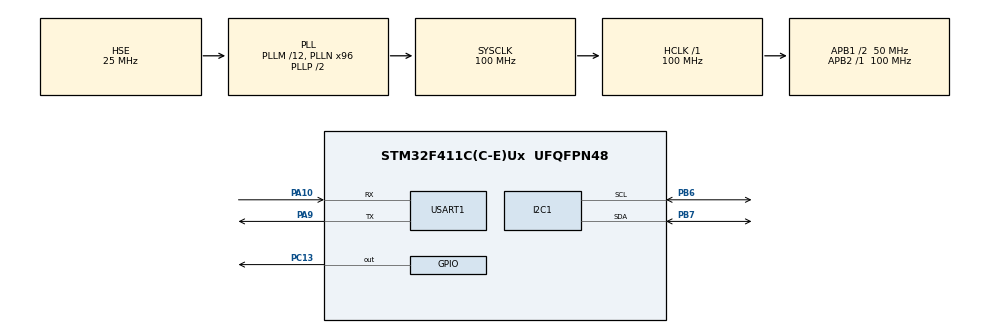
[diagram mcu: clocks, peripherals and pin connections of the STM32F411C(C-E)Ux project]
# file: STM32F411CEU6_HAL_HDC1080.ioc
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Mcu.Family=STM32F4
Mcu.Name=STM32F411C(C-E)Ux
Mcu.Package=UFQFPN48
NVIC.PriorityGroup=NVIC_PRIORITYGROUP_4
NVIC.USART1_IRQn=true\:0\:0\:false\:false\:true\:true\:true
PA10.Mode=Asynchronous
PA10.Signal=USART1_RX
PA13.Mode=Serial_Wire
PA13.Signal=SYS_JTMS-SWDIO
PA14.Mode=Serial_Wire
PA14.Signal=SYS_JTCK-SWCLK
PA9.Mode=Asynchronous
PA9.Signal=USART1_TX
PB6.Mode=I2C
PB6.Signal=I2C1_SCL
PB7.Mode=I2C
PB7.Signal=I2C1_SDA
PC13-ANTI_TAMP.Signal=GPIO_Output
PH0\ -\ OSC_IN.Mode=HSE-External-Oscillator
PH0\ -\ OSC_IN.Signal=RCC_OSC_IN
PH1\ -\ OSC_OUT.Mode=HSE-External-Oscillator
PH1\ -\ OSC_OUT.Signal=RCC_OSC_OUT
ProjectManager.HeapSize=0x200
ProjectManager.StackSize=0x400
ProjectManager.TargetToolchain=STM32CubeIDE
RCC.48MHZClocksFreq_Value=50000000
RCC.AHBFreq_Value=100000000
RCC.APB1CLKDivider=RCC_HCLK_DIV2
RCC.APB1Freq_Value=50000000
RCC.APB1TimFreq_Value=100000000
RCC.APB2Freq_Value=100000000
RCC.APB2TimFreq_Value=100000000
RCC.CortexFreq_Value=100000000
RCC.EnbaleCSS=true
RCC.HCLKFreq_Value=100000000
RCC.HSE_VALUE=25000000
RCC.HSI_VALUE=16000000
RCC.LSE_VALUE=32768
RCC.PLLM=12
RCC.PLLN=96
RCC.PLLSourceVirtual=RCC_PLLSOURCE_HSE
RCC.SYSCLKFreq_VALUE=100000000
RCC.SYSCLKSource=RCC_SYSCLKSOURCE_PLLCLK
RCC.VCOOutputFreq_Value=200000000
USART1.VirtualMode=VM_ASYNC
board=custom

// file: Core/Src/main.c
/* USER CODE BEGIN Header */
/**
 ******************************************************************************
 * @file           : main.c
 * @brief          : Main program body
 ******************************************************************************
 * @attention
 *
 * <h2><center>&copy; Copyright (c) 2026 STMicroelectronics.
 * All rights reserved.</center></h2>
 *
 * This software component is licensed by ST under BSD 3-Clause license,
 * the "License"; You may not use this file except in compliance with the
 * License. You may obtain a copy of the License at:
 *                        opensource.org/licenses/BSD-3-Clause
 *
 ******************************************************************************
 */
/* USER CODE END Header */
#include "main.h"

/* USER CODE BEGIN Includes */

/*ОПИСАНИЕ ПРИМЕРА
 * Мы используем I2C датчик температуры и влажности HDC1080
 * Сделаем вид, что PC13 - это реле, указывающее на аварийную ситуацию
 * Реле будет включаться при превышении климатических условий: Температура 30°C, Влажность 65%
 * И пусть у нас будет счетчик включений реле.
 * Наша задача - вывести это все на график и произвести анализ данных.
 */
#include "HDC1080.h"
#include "ModbusRTU_slave.h"
#include <stdbool.h>

/*=====================Переменные для ModbusRTU Slave===========================*/
uint8_t ModbusRTU_tx_buffer[256] = { 0, }; //Буфер исходящих данных по ModbusRTU
uint8_t ModbusRTU_rx_buffer[256] = { 0, }; //Буфер входящих данных по ModbusRTU
uint16_t ModbusRTU_rx_len = 0; //Счетчик пришедших байт, когда сработает флаг IDLE
extern bool ModbusRTU_Data_recieved; //Флаг принятых данных и готовых к обработке
extern uint16_t ModbusRTU_Slave_MEM[MODBUSRTU_SLAVE_ENUM_QUANTITY]; //Память устройства ModbusRTU_slave
//Прерывание по IDLE смотри в stm32f4xx_it.c
//Функция void HAL_UARTEx_RxEventCallback(UART_HandleTypeDef *huart, uint16_t Size)
/*=====================Переменные для ModbusRTU Slave===========================*/

/*=========================Переменные для HDC1080=========================*/
extern HDC1080_struct HDC1080; //Объявляем структуру цифрового датчика температуры и влажности HDC1080
uint16_t Timer_update_data_HDC1080 = 0; //Таймер для запуска опроса датчика HDC1080.
//Данный таймер будем запускать каждые 50 мс. Работать будет через SysTick
//(см. функцию void SysTick_Handler(void) в stm32f4xx_it.c)
/*=========================Переменные для HDC1080=========================*/

/*=================Переменные для логики нашего примера=================*/
bool Alarm_relay = false; //Реле будет включаться при превышении климатических условий: Температура 30°C, Влажность 65%
uint16_t Alarm_counter = 0; //Cчетчик включений реле
bool Alarm_flag_for_counter = false; //Триггер на увеличенние счетчика
/*=================Переменные для логики нашего примера=================*/

/* USER CODE END Includes */

I2C_HandleTypeDef hi2c1;

UART_HandleTypeDef huart1;

void SystemClock_Config(void);
static void MX_GPIO_Init(void);
static void MX_I2C1_Init(void);
static void MX_USART1_UART_Init(void);

int main(void) {

	/* MCU Configuration--------------------------------------------------------*/

	/* Reset of all peripherals, Initializes the Flash interface and the Systick. */
	HAL_Init();

	/* Configure the system clock */
	SystemClock_Config();

	/* Initialize all configured peripherals */
	MX_GPIO_Init();
	MX_I2C1_Init();
	MX_USART1_UART_Init();
	/* USER CODE BEGIN 2 */
	HDC1080_init(); //Проинициализируем HDC1080
	HAL_UARTEx_ReceiveToIdle_IT(&huart1, ModbusRTU_rx_buffer, sizeof(ModbusRTU_rx_buffer)); //Ждем прерывание по флагу IDLE для UART1
	/* USER CODE END 2 */

	/* Infinite loop */
	while (1) {

		/* USER CODE BEGIN 3 */

		/*=================Опрос датчика HDC1080==========================*/
		//Если таймер досчитал - опросим датчик HDC1080
		if (!Timer_update_data_HDC1080) {
			HDC1080_Run();
			Timer_update_data_HDC1080 = 50; //Снова запустим таймер на 50 мс
		}
		ModbusRTU_fast_Embedded_send_data((float)HDC1080.Temperature, MODBUSRTU_SLAVE_CHANNEL_1_H_REG);
		ModbusRTU_fast_Embedded_send_data((float)HDC1080.Humidity, MODBUSRTU_SLAVE_CHANNEL_2_H_REG);
		/*=================Опрос датчика HDC1080==========================*/

		/*======================Логика примера===========================*/
		if ((HDC1080.Temperature > 30.0f) && (HDC1080.Humidity > 65.0f)){
			Alarm_relay = true;
			HAL_GPIO_WritePin(GPIOC, GPIO_PIN_13, RESET); //Обратная логика на плате
			if (Alarm_flag_for_counter == false){
				Alarm_counter++; //Увеличим счетчик
				Alarm_flag_for_counter = true; //Сработал триггер на увеличение счетчика до сброса аварии
			}
		}else{
			Alarm_relay = false;
			Alarm_flag_for_counter = false; //Сбросим триггер на увеличение счетчика
			HAL_GPIO_WritePin(GPIOC, GPIO_PIN_13, SET); //Обратная логика на плате
		}
		ModbusRTU_fast_Embedded_send_data((float)Alarm_relay, MODBUSRTU_SLAVE_CHANNEL_3_H_REG);
		ModbusRTU_fast_Embedded_send_data((float)Alarm_counter, MODBUSRTU_SLAVE_CHANNEL_4_H_REG);
		/*======================Логика примера===========================*/

		/*====================Обработка запросов по ModbusRTU====================*/
		//Если данные пришли
		if (ModbusRTU_Data_recieved) {
			ModbusRTU_slave_Run(ModbusRTU_rx_buffer, ModbusRTU_rx_len, ModbusRTU_tx_buffer); //Обработаем запрос и отдадим ответ
			ModbusRTU_Data_recieved = false; //Ждем следующий запрос
		}
		/*====================Обработка запросов по ModbusRTU====================*/

	}
	/* USER CODE END 3 */
}

void SystemClock_Config(void) {
	RCC_OscInitTypeDef RCC_OscInitStruct = { 0 };
	RCC_ClkInitTypeDef RCC_ClkInitStruct = { 0 };

	/** Configure the main internal regulator output voltage
	 */
	__HAL_RCC_PWR_CLK_ENABLE();
	__HAL_PWR_VOLTAGESCALING_CONFIG(PWR_REGULATOR_VOLTAGE_SCALE1);
	/** Initializes the RCC Oscillators according to the specified parameters
	 * in the RCC_OscInitTypeDef structure.
	 */
	RCC_OscInitStruct.OscillatorType = RCC_OSCILLATORTYPE_HSE;
	RCC_OscInitStruct.HSEState = RCC_HSE_ON;
	RCC_OscInitStruct.PLL.PLLState = RCC_PLL_ON;
	RCC_OscInitStruct.PLL.PLLSource = RCC_PLLSOURCE_HSE;
	RCC_OscInitStruct.PLL.PLLM = 12;
	RCC_OscInitStruct.PLL.PLLN = 96;
	RCC_OscInitStruct.PLL.PLLP = RCC_PLLP_DIV2;
	RCC_OscInitStruct.PLL.PLLQ = 4;
	if (HAL_RCC_OscConfig(&RCC_OscInitStruct) != HAL_OK) {
		Error_Handler();
	}
	/** Initializes the CPU, AHB and APB buses clocks
	 */
	RCC_ClkInitStruct.ClockType = RCC_CLOCKTYPE_HCLK | RCC_CLOCKTYPE_SYSCLK | RCC_CLOCKTYPE_PCLK1 | RCC_CLOCKTYPE_PCLK2;
	RCC_ClkInitStruct.SYSCLKSource = RCC_SYSCLKSOURCE_PLLCLK;
	RCC_ClkInitStruct.AHBCLKDivider = RCC_SYSCLK_DIV1;
	RCC_ClkInitStruct.APB1CLKDivider = RCC_HCLK_DIV2;
	RCC_ClkInitStruct.APB2CLKDivider = RCC_HCLK_DIV1;

	if (HAL_RCC_ClockConfig(&RCC_ClkInitStruct, FLASH_LATENCY_3) != HAL_OK) {
		Error_Handler();
	}
	/** Enables the Clock Security System
	 */
	HAL_RCC_EnableCSS();
}

static void MX_I2C1_Init(void) {

	hi2c1.Instance = I2C1;
	hi2c1.Init.ClockSpeed = 100000;
	hi2c1.Init.DutyCycle = I2C_DUTYCYCLE_2;
	hi2c1.Init.OwnAddress1 = 0;
	hi2c1.Init.AddressingMode = I2C_ADDRESSINGMODE_7BIT;
	hi2c1.Init.DualAddressMode = I2C_DUALADDRESS_DISABLE;
	hi2c1.Init.OwnAddress2 = 0;
	hi2c1.Init.GeneralCallMode = I2C_GENERALCALL_DISABLE;
	hi2c1.Init.NoStretchMode = I2C_NOSTRETCH_DISABLE;
	if (HAL_I2C_Init(&hi2c1) != HAL_OK) {
		Error_Handler();
	}

}

static void MX_USART1_UART_Init(void) {

	huart1.Instance = USART1;
	huart1.Init.BaudRate = 115200;
	huart1.Init.WordLength = UART_WORDLENGTH_8B;
	huart1.Init.StopBits = UART_STOPBITS_1;
	huart1.Init.Parity = UART_PARITY_NONE;
	huart1.Init.Mode = UART_MODE_TX_RX;
	huart1.Init.HwFlowCtl = UART_HWCONTROL_NONE;
	huart1.Init.OverSampling = UART_OVERSAMPLING_16;
	if (HAL_UART_Init(&huart1) != HAL_OK) {
		Error_Handler();
	}

}

static void MX_GPIO_Init(void) {
	GPIO_InitTypeDef GPIO_InitStruct = { 0 };

	/* GPIO Ports Clock Enable */
	__HAL_RCC_GPIOC_CLK_ENABLE();
	__HAL_RCC_GPIOH_CLK_ENABLE();
	__HAL_RCC_GPIOA_CLK_ENABLE();
	__HAL_RCC_GPIOB_CLK_ENABLE();

	/*Configure GPIO pin Output Level */
	HAL_GPIO_WritePin(GPIOC, GPIO_PIN_13, GPIO_PIN_RESET);

	/*Configure GPIO pin : PC13 */
	GPIO_InitStruct.Pin = GPIO_PIN_13;
	GPIO_InitStruct.Mode = GPIO_MODE_OUTPUT_PP;
	GPIO_InitStruct.Pull = GPIO_NOPULL;
	GPIO_InitStruct.Speed = GPIO_SPEED_FREQ_LOW;
	HAL_GPIO_Init(GPIOC, &GPIO_InitStruct);

}

void Error_Handler(void) {
	__disable_irq();
	while (1) {
	}
}

/************************ (C) COPYRIGHT STMicroelectronics *****END OF FILE****/
